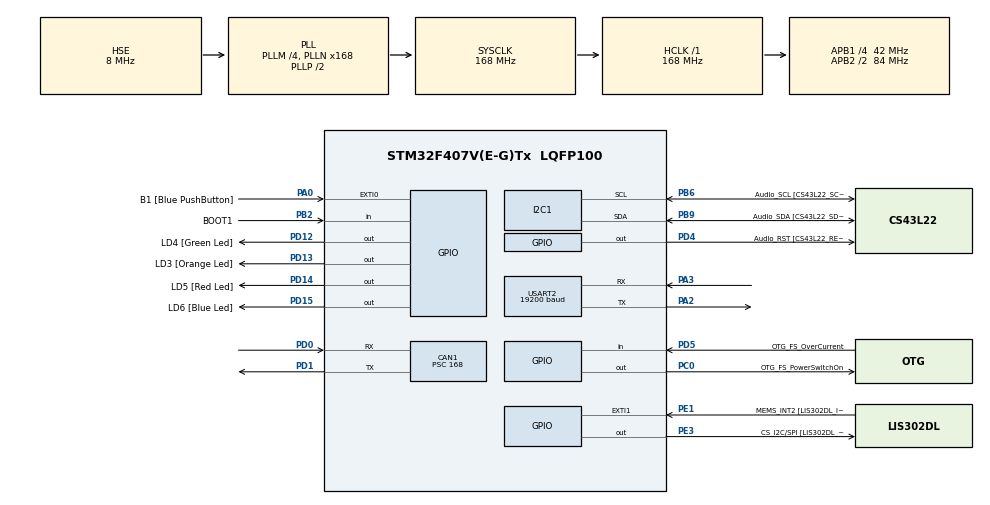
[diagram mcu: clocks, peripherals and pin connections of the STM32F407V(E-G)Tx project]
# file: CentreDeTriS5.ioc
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CAN1.BS1=CAN_BS1_3TQ
CAN1.CalculateTimeQuantum=4000.0
CAN1.Mode=CAN_MODE_LOOPBACK
CAN1.Prescaler=168
Mcu.Family=STM32F4
Mcu.Name=STM32F407V(E-G)Tx
Mcu.Package=LQFP100
NVIC.PriorityGroup=NVIC_PRIORITYGROUP_0
NVIC.TIM6_DAC_IRQn=true\:0\:0\:false\:false\:true\:true\:true
PA0-WKUP.GPIO_Label=B1 [Blue PushButton]
PA0-WKUP.Signal=GPXTI0
PA10.GPIO_Label=OTG_FS_ID
PA10.GPIO_Mode=GPIO_MODE_AF_PP
PA10.GPIO_PuPd=GPIO_NOPULL
PA10.GPIO_Speed=GPIO_SPEED_FREQ_LOW
PA10.Signal=USB_OTG_FS_ID
PA11.GPIO_Label=OTG_FS_DM
PA11.GPIO_Mode=GPIO_MODE_AF_PP
PA11.GPIO_PuPd=GPIO_NOPULL
PA11.GPIO_Speed=GPIO_SPEED_FREQ_LOW
PA11.Signal=USB_OTG_FS_DM
PA12.GPIO_Label=OTG_FS_DP
PA12.GPIO_Mode=GPIO_MODE_AF_PP
PA12.GPIO_PuPd=GPIO_NOPULL
PA12.GPIO_Speed=GPIO_SPEED_FREQ_LOW
PA12.Signal=USB_OTG_FS_DP
PA13.GPIO_Label=SWDIO
PA13.Signal=SYS_JTMS-SWDIO
PA14.GPIO_Label=SWCLK
PA14.Signal=SYS_JTCK-SWCLK
PA2.Mode=Asynchronous
PA2.Signal=USART2_TX
PA3.Mode=Asynchronous
PA3.Signal=USART2_RX
PA4.GPIO_Label=I2S3_WS [CS43L22_LRCK]
PA4.GPIO_Mode=GPIO_MODE_AF_PP
PA4.GPIO_PuPd=GPIO_NOPULL
PA4.GPIO_Speed=GPIO_SPEED_FREQ_LOW
PA4.Signal=I2S3_WS
PA5.GPIO_Label=SPI1_SCK [LIS302DL_SCL/SPC]
PA5.GPIO_Mode=GPIO_MODE_AF_PP
PA5.GPIO_PuPd=GPIO_NOPULL
PA5.GPIO_Speed=GPIO_SPEED_FREQ_LOW
PA5.Signal=SPI1_SCK
PA6.GPIO_Label=SPI1_MISO [LIS302DL_SDO]
PA6.GPIO_Mode=GPIO_MODE_AF_PP
PA6.GPIO_PuPd=GPIO_NOPULL
PA6.GPIO_Speed=GPIO_SPEED_FREQ_LOW
PA6.Signal=SPI1_MISO
PA7.GPIO_Label=SPI1_MOSI [LIS302DL_SDA/SDI/SDO]
PA7.GPIO_Mode=GPIO_MODE_AF_PP
PA7.GPIO_PuPd=GPIO_NOPULL
PA7.GPIO_Speed=GPIO_SPEED_FREQ_LOW
PA7.Signal=SPI1_MOSI
PA9.GPIO_Label=VBUS_FS
PA9.GPIO_Mode=GPIO_MODE_INPUT
PA9.GPIO_PuPd=GPIO_NOPULL
PA9.Signal=USB_OTG_FS_VBUS
PB10.GPIO_Label=CLK_IN [MP45DT02_CLK]
PB10.GPIO_Mode=GPIO_MODE_AF_PP
PB10.GPIO_PuPd=GPIO_NOPULL
PB10.GPIO_Speed=GPIO_SPEED_FREQ_LOW
PB10.Signal=I2S2_CK
PB2.GPIO_Label=BOOT1
PB2.GPIO_Mode=GPIO_MODE_INPUT
PB2.GPIO_PuPd=GPIO_NOPULL
PB2.Signal=GPIO_Input
PB3.GPIO_Label=SWO
PB3.Signal=SYS_JTDO-SWO
PB6.GPIO_Label=Audio_SCL [CS43L22_SCL]
PB6.GPIO_Mode=GPIO_MODE_AF_OD
PB6.GPIO_PuPd=GPIO_NOPULL
PB6.GPIO_Speed=GPIO_SPEED_FREQ_LOW
PB6.Mode=I2C
PB6.Signal=I2C1_SCL
PB9.GPIO_Label=Audio_SDA [CS43L22_SDA]
PB9.GPIO_Mode=GPIO_MODE_AF_OD
PB9.GPIO_PuPd=GPIO_NOPULL
PB9.GPIO_Speed=GPIO_SPEED_FREQ_LOW
PB9.Mode=I2C
PB9.Signal=I2C1_SDA
PC0.GPIO_Label=OTG_FS_PowerSwitchOn
PC0.GPIO_PuPd=GPIO_NOPULL
PC0.GPIO_Speed=GPIO_SPEED_FREQ_LOW
PC0.PinState=GPIO_PIN_SET
PC0.Signal=GPIO_Output
PC10.GPIO_Label=I2S3_SCK [CS43L22_SCLK]
PC10.GPIO_Mode=GPIO_MODE_AF_PP
PC10.GPIO_PuPd=GPIO_NOPULL
PC10.GPIO_Speed=GPIO_SPEED_FREQ_LOW
PC10.Signal=I2S3_CK
PC12.GPIO_Label=I2S3_SD [CS43L22_SDIN]
PC12.GPIO_Mode=GPIO_MODE_AF_PP
PC12.GPIO_PuPd=GPIO_NOPULL
PC12.GPIO_Speed=GPIO_SPEED_FREQ_LOW
PC12.Signal=I2S3_SD
PC14-OSC32_IN.GPIO_Label=PC14-OSC32_IN
PC14-OSC32_IN.Signal=RCC_OSC32_IN
PC15-OSC32_OUT.GPIO_Label=PC15-OSC32_OUT
PC15-OSC32_OUT.Signal=RCC_OSC32_OUT
PC3.GPIO_Label=PDM_OUT [MP45DT02_DOUT]
PC3.GPIO_Mode=GPIO_MODE_AF_PP
PC3.GPIO_PuPd=GPIO_NOPULL
PC3.GPIO_Speed=GPIO_SPEED_FREQ_LOW
PC3.Signal=I2S2_SD
PC7.GPIO_Label=I2S3_MCK [CS43L22_MCLK]
PC7.GPIO_Mode=GPIO_MODE_AF_PP
PC7.GPIO_PuPd=GPIO_NOPULL
PC7.GPIO_Speed=GPIO_SPEED_FREQ_LOW
PC7.Signal=I2S3_MCK
PD0.Mode=Master
PD0.Signal=CAN1_RX
PD1.Mode=Master
PD1.Signal=CAN1_TX
PD12.GPIO_Label=LD4 [Green Led]
PD12.GPIO_PuPd=GPIO_NOPULL
PD12.GPIO_Speed=GPIO_SPEED_FREQ_LOW
PD12.Signal=GPIO_Output
PD13.GPIO_Label=LD3 [Orange Led]
PD13.GPIO_PuPd=GPIO_NOPULL
PD13.GPIO_Speed=GPIO_SPEED_FREQ_LOW
PD13.Signal=GPIO_Output
PD14.GPIO_Label=LD5 [Red Led]
PD14.GPIO_PuPd=GPIO_NOPULL
PD14.GPIO_Speed=GPIO_SPEED_FREQ_LOW
PD14.Signal=GPIO_Output
PD15.GPIO_Label=LD6 [Blue Led]
PD15.GPIO_PuPd=GPIO_NOPULL
PD15.GPIO_Speed=GPIO_SPEED_FREQ_LOW
PD15.Signal=GPIO_Output
PD4.GPIO_Label=Audio_RST [CS43L22_RESET]
PD4.GPIO_PuPd=GPIO_NOPULL
PD4.GPIO_Speed=GPIO_SPEED_FREQ_LOW
PD4.Signal=GPIO_Output
PD5.GPIO_Label=OTG_FS_OverCurrent
PD5.GPIO_Mode=GPIO_MODE_INPUT
PD5.GPIO_PuPd=GPIO_NOPULL
PD5.Signal=GPIO_Input
PE1.GPIO_Label=MEMS_INT2 [LIS302DL_INT2]
PE1.GPIO_ModeDefaultEXTI=GPIO_MODE_EVT_RISING
PE1.GPIO_PuPd=GPIO_NOPULL
PE1.Signal=GPXTI1
PE3.GPIO_Label=CS_I2C/SPI [LIS302DL_CS_I2C/SPI]
PE3.GPIO_PuPd=GPIO_NOPULL
PE3.GPIO_Speed=GPIO_SPEED_FREQ_LOW
PE3.Signal=GPIO_Output
PH0-OSC_IN.GPIO_Label=PH0-OSC_IN
PH0-OSC_IN.Mode=HSE-External-Oscillator
PH0-OSC_IN.Signal=RCC_OSC_IN
PH1-OSC_OUT.GPIO_Label=PH1-OSC_OUT
PH1-OSC_OUT.Mode=HSE-External-Oscillator
PH1-OSC_OUT.Signal=RCC_OSC_OUT
ProjectManager.HeapSize=0x200
ProjectManager.StackSize=0x400
ProjectManager.TargetToolchain=EWARM V7
RCC.48MHZClocksFreq_Value=48000000
RCC.AHBFreq_Value=168000000
RCC.APB1CLKDivider=RCC_HCLK_DIV4
RCC.APB1Freq_Value=42000000
RCC.APB1TimFreq_Value=84000000
RCC.APB2CLKDivider=RCC_HCLK_DIV2
RCC.APB2Freq_Value=84000000
RCC.APB2TimFreq_Value=168000000
RCC.CortexFreq_Value=168000000
RCC.HCLKFreq_Value=168000000
RCC.HSE_VALUE=8000000
RCC.HSI_VALUE=16000000
RCC.LSE_VALUE=32768
RCC.PLLM=4
RCC.PLLN=168
RCC.PLLQ=7
RCC.PLLSourceVirtual=RCC_PLLSOURCE_HSE
RCC.SYSCLKFreq_VALUE=168000000
RCC.SYSCLKSource=RCC_SYSCLKSOURCE_PLLCLK
RCC.VCOOutputFreq_Value=336000000
TIM6.Period=PILOTETIMER6UP_COMPTE_MAXIMAL
TIM6.TIM_MasterOutputTrigger=TIM_TRGO_ENABLE
USART2.BaudRate=19200
USART2.VirtualMode=VM_ASYNC
VP_TIM6_VS_ClockSourceINT.Mode=Enable_Timer
board=STM32F407G-DISC1

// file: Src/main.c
/* USER CODE BEGIN Header */
/**
  ******************************************************************************
  * @file           : main.c
  * @brief          : Main program body
  ******************************************************************************
  * @attention
  *
  * <h2><center>&copy; Copyright (c) 2019 STMicroelectronics.
  * All rights reserved.</center></h2>
  *
  * This software component is licensed by ST under BSD 3-Clause license,
  * the "License"; You may not use this file except in compliance with the
  * License. You may obtain a copy of the License at:
  *                        opensource.org/licenses/BSD-3-Clause
  *
  ******************************************************************************
  */
/* USER CODE END Header */

#include "main.h"

/* USER CODE BEGIN Includes */
//S-0010:
//Historique:
// 2019-10-27, Yves Roy, creation

//notes sur l'utilisation des timers.
// https://www.st.com/content/ccc/resource/technical/document/application_note/group0/91/01/84/3f/7c/67/41/3f/DM00236305/files/DM00236305.pdf/jcr:content/translations/en.DM00236305.pdf
//https://stm32f4-discovery.net/2014/05/stm32f4-stm32f429-discovery-pwm-tutorial/
//timer 6 sur APB1
//timer_tick_frequency = Timer_default_frequency / (prescaller_set + 1)
//default_frequency = 84MHz compte tenu des options choisies avec le "cube"
//TIM_Period = timer_tick_frequency / TIM_frequency - 1
//il faut s'assurer que le compte pour la periode est plus petit que 65536

#include "piloteTimer6Up.h"
#include "piloteCAN1.h"
#include "piloteUSART2.h"
#include "piloteIOB1.h"
#include "piloteIOT1.h"
#include "piloteIOT2.h"
#include "piloteIOT3.h"
#include "piloteIOT4.h"
#include "serviceBaseDeTemps.h"
//#include "serviceProtocole637.h"
#include "interfaceB1.h"
#include "interfaceT1.h"
#include "interfaceT2.h"
#include "interfaceT3.h"
#include "interfaceT4.h"
//#include "processusBoutonConnecte.h"
#include "processusUsine.h"
//#include "stm32f4xx_hal_conf.h"
//#include "stm32f4xx_it.h"
/* USER CODE END Includes */

CAN_HandleTypeDef hcan1;

I2C_HandleTypeDef hi2c1;

TIM_HandleTypeDef htim6;

UART_HandleTypeDef huart2;

/* USER CODE BEGIN PV */
/* Private variables ---------------------------------------------------------*/

/* USER CODE END PV */

void SystemClock_Config(void);
static void MX_GPIO_Init(void);
static void MX_USART2_UART_Init(void);
static void MX_TIM6_Init(void);
static void MX_CAN1_Init(void);
static void MX_I2C1_Init(void);
/* USER CODE BEGIN PFP */
/* Private function prototypes -----------------------------------------------*/
void main_initialiseAvantLeHAL(void);
void main_initialiseApresLeHAL(void);
/* USER CODE END PFP */

/* USER CODE BEGIN 0 */
void main_initialiseAvantLeHAL(void)
{
  piloteTimer6Up_initialise();
  //piloteCAN1_initialise(); //irait ici en temps normal... mais il y a un bug dans le cube
  piloteUSART2_initialise();
  piloteIOB1_initialise();
  piloteIOT1_initialise();
  piloteIOT2_initialise();
  piloteIOT3_initialise();
  piloteIOT4_initialise();
  serviceBaseDeTemps_initialise();
  serviceProtocole637_initialise();
  interfaceT1_initialise();
  interfaceT2_initialise();
  interfaceT3_initialise();
  interfaceT4_initialise();
  processusPasserelle_initialise();
}

void main_initialiseApresLeHAL(void)
{
  piloteCAN1_initialise();
  piloteTimer6Up_permetLesInterruptions();
}

void neFaitRien(void)
{
}
/* USER CODE END 0 */

int main(void)
{
  /* USER CODE BEGIN 1 */
  main_initialiseAvantLeHAL();
  /* USER CODE END 1 */

  /* MCU Configuration--------------------------------------------------------*/

  /* Reset of all peripherals, Initializes the Flash interface and the Systick. */
  HAL_Init();

  /* Configure the system clock */
  SystemClock_Config();

  /* Initialize all configured peripherals */
  MX_GPIO_Init();
  MX_USART2_UART_Init();
  MX_TIM6_Init();
  MX_CAN1_Init();
  MX_I2C1_Init();
  /* USER CODE BEGIN 2 */
  main_initialiseApresLeHAL();

  /* USER CODE END 2 */

  /* Infinite loop */
  while (1)
  {

  }
}

void SystemClock_Config(void)
{
  RCC_OscInitTypeDef RCC_OscInitStruct = {0};
  RCC_ClkInitTypeDef RCC_ClkInitStruct = {0};

  /** Configure the main internal regulator output voltage
  */
  __HAL_RCC_PWR_CLK_ENABLE();
  __HAL_PWR_VOLTAGESCALING_CONFIG(PWR_REGULATOR_VOLTAGE_SCALE1);
  /** Initializes the CPU, AHB and APB busses clocks
  */
  RCC_OscInitStruct.OscillatorType = RCC_OSCILLATORTYPE_HSE;
  RCC_OscInitStruct.HSEState = RCC_HSE_ON;
  RCC_OscInitStruct.PLL.PLLState = RCC_PLL_ON;
  RCC_OscInitStruct.PLL.PLLSource = RCC_PLLSOURCE_HSE;
  RCC_OscInitStruct.PLL.PLLM = 4;
  RCC_OscInitStruct.PLL.PLLN = 168;
  RCC_OscInitStruct.PLL.PLLP = RCC_PLLP_DIV2;
  RCC_OscInitStruct.PLL.PLLQ = 7;
  if (HAL_RCC_OscConfig(&RCC_OscInitStruct) != HAL_OK)
  {
    Error_Handler();
  }
  /** Initializes the CPU, AHB and APB busses clocks
  */
  RCC_ClkInitStruct.ClockType = RCC_CLOCKTYPE_HCLK|RCC_CLOCKTYPE_SYSCLK
                              |RCC_CLOCKTYPE_PCLK1|RCC_CLOCKTYPE_PCLK2;
  RCC_ClkInitStruct.SYSCLKSource = RCC_SYSCLKSOURCE_PLLCLK;
  RCC_ClkInitStruct.AHBCLKDivider = RCC_SYSCLK_DIV1;
  RCC_ClkInitStruct.APB1CLKDivider = RCC_HCLK_DIV4;
  RCC_ClkInitStruct.APB2CLKDivider = RCC_HCLK_DIV2;

  if (HAL_RCC_ClockConfig(&RCC_ClkInitStruct, FLASH_LATENCY_5) != HAL_OK)
  {
    Error_Handler();
  }
}

static void MX_CAN1_Init(void)
{

  hcan1.Instance = CAN1;
  hcan1.Init.Prescaler = 168;
  hcan1.Init.Mode = CAN_MODE_LOOPBACK;
  hcan1.Init.SyncJumpWidth = CAN_SJW_1TQ;
  hcan1.Init.TimeSeg1 = CAN_BS1_3TQ;
  hcan1.Init.TimeSeg2 = CAN_BS2_1TQ;
  hcan1.Init.TimeTriggeredMode = DISABLE;
  hcan1.Init.AutoBusOff = DISABLE;
  hcan1.Init.AutoWakeUp = DISABLE;
  hcan1.Init.AutoRetransmission = DISABLE;
  hcan1.Init.ReceiveFifoLocked = DISABLE;
  hcan1.Init.TransmitFifoPriority = DISABLE;
  if (HAL_CAN_Init(&hcan1) != HAL_OK)
  {
    Error_Handler();
  }

}

static void MX_I2C1_Init(void)
{

  hi2c1.Instance = I2C1;
  hi2c1.Init.ClockSpeed = 100000;
  hi2c1.Init.DutyCycle = I2C_DUTYCYCLE_2;
  hi2c1.Init.OwnAddress1 = 0;
  hi2c1.Init.AddressingMode = I2C_ADDRESSINGMODE_7BIT;
  hi2c1.Init.DualAddressMode = I2C_DUALADDRESS_DISABLE;
  hi2c1.Init.OwnAddress2 = 0;
  hi2c1.Init.GeneralCallMode = I2C_GENERALCALL_DISABLE;
  hi2c1.Init.NoStretchMode = I2C_NOSTRETCH_DISABLE;
  if (HAL_I2C_Init(&hi2c1) != HAL_OK)
  {
    Error_Handler();
  }

}

static void MX_TIM6_Init(void)
{

  TIM_MasterConfigTypeDef sMasterConfig = {0};

  htim6.Instance = TIM6;
  htim6.Init.Prescaler = 0;
  htim6.Init.CounterMode = TIM_COUNTERMODE_UP;
  htim6.Init.Period = PILOTETIMER6UP_COMPTE_MAXIMAL;
  htim6.Init.AutoReloadPreload = TIM_AUTORELOAD_PRELOAD_DISABLE;
  if (HAL_TIM_Base_Init(&htim6) != HAL_OK)
  {
    Error_Handler();
  }
  sMasterConfig.MasterOutputTrigger = TIM_TRGO_ENABLE;
  sMasterConfig.MasterSlaveMode = TIM_MASTERSLAVEMODE_DISABLE;
  if (HAL_TIMEx_MasterConfigSynchronization(&htim6, &sMasterConfig) != HAL_OK)
  {
    Error_Handler();
  }

}

static void MX_USART2_UART_Init(void)
{

  huart2.Instance = USART2;
  huart2.Init.BaudRate = 19200;
  huart2.Init.WordLength = UART_WORDLENGTH_8B;
  huart2.Init.StopBits = UART_STOPBITS_1;
  huart2.Init.Parity = UART_PARITY_NONE;
  huart2.Init.Mode = UART_MODE_TX_RX;
  huart2.Init.HwFlowCtl = UART_HWCONTROL_NONE;
  huart2.Init.OverSampling = UART_OVERSAMPLING_16;
  if (HAL_UART_Init(&huart2) != HAL_OK)
  {
    Error_Handler();
  }

}

static void MX_GPIO_Init(void)
{
  GPIO_InitTypeDef GPIO_InitStruct = {0};

  /* GPIO Ports Clock Enable */
  __HAL_RCC_GPIOE_CLK_ENABLE();
  __HAL_RCC_GPIOC_CLK_ENABLE();
  __HAL_RCC_GPIOH_CLK_ENABLE();
  __HAL_RCC_GPIOA_CLK_ENABLE();
  __HAL_RCC_GPIOB_CLK_ENABLE();
  __HAL_RCC_GPIOD_CLK_ENABLE();

  /*Configure GPIO pin Output Level */
  HAL_GPIO_WritePin(CS_I2C_SPI_GPIO_Port, CS_I2C_SPI_Pin, GPIO_PIN_RESET);

  /*Configure GPIO pin Output Level */
  HAL_GPIO_WritePin(OTG_FS_PowerSwitchOn_GPIO_Port, OTG_FS_PowerSwitchOn_Pin, GPIO_PIN_SET);

  /*Configure GPIO pin Output Level */
  HAL_GPIO_WritePin(GPIOD, LD4_Pin|LD3_Pin|LD5_Pin|LD6_Pin
                          |Audio_RST_Pin, GPIO_PIN_RESET);

  /*Configure GPIO pin : CS_I2C_SPI_Pin */
  GPIO_InitStruct.Pin = CS_I2C_SPI_Pin;
  GPIO_InitStruct.Mode = GPIO_MODE_OUTPUT_PP;
  GPIO_InitStruct.Pull = GPIO_NOPULL;
  GPIO_InitStruct.Speed = GPIO_SPEED_FREQ_LOW;
  HAL_GPIO_Init(CS_I2C_SPI_GPIO_Port, &GPIO_InitStruct);

  /*Configure GPIO pin : OTG_FS_PowerSwitchOn_Pin */
  GPIO_InitStruct.Pin = OTG_FS_PowerSwitchOn_Pin;
  GPIO_InitStruct.Mode = GPIO_MODE_OUTPUT_PP;
  GPIO_InitStruct.Pull = GPIO_NOPULL;
  GPIO_InitStruct.Speed = GPIO_SPEED_FREQ_LOW;
  HAL_GPIO_Init(OTG_FS_PowerSwitchOn_GPIO_Port, &GPIO_InitStruct);

  /*Configure GPIO pin : PDM_OUT_Pin */
  GPIO_InitStruct.Pin = PDM_OUT_Pin;
  GPIO_InitStruct.Mode = GPIO_MODE_AF_PP;
  GPIO_InitStruct.Pull = GPIO_NOPULL;
  GPIO_InitStruct.Speed = GPIO_SPEED_FREQ_LOW;
  GPIO_InitStruct.Alternate = GPIO_AF5_SPI2;
  HAL_GPIO_Init(PDM_OUT_GPIO_Port, &GPIO_InitStruct);

  /*Configure GPIO pin : B1_Pin */
  GPIO_InitStruct.Pin = B1_Pin;
  GPIO_InitStruct.Mode = GPIO_MODE_IT_RISING;
  GPIO_InitStruct.Pull = GPIO_NOPULL;
  HAL_GPIO_Init(B1_GPIO_Port, &GPIO_InitStruct);

  /*Configure GPIO pin : I2S3_WS_Pin */
  GPIO_InitStruct.Pin = I2S3_WS_Pin;
  GPIO_InitStruct.Mode = GPIO_MODE_AF_PP;
  GPIO_InitStruct.Pull = GPIO_NOPULL;
  GPIO_InitStruct.Speed = GPIO_SPEED_FREQ_LOW;
  GPIO_InitStruct.Alternate = GPIO_AF6_SPI3;
  HAL_GPIO_Init(I2S3_WS_GPIO_Port, &GPIO_InitStruct);

  /*Configure GPIO pins : SPI1_SCK_Pin SPI1_MISO_Pin SPI1_MOSI_Pin */
  GPIO_InitStruct.Pin = SPI1_SCK_Pin|SPI1_MISO_Pin|SPI1_MOSI_Pin;
  GPIO_InitStruct.Mode = GPIO_MODE_AF_PP;
  GPIO_InitStruct.Pull = GPIO_NOPULL;
  GPIO_InitStruct.Speed = GPIO_SPEED_FREQ_LOW;
  GPIO_InitStruct.Alternate = GPIO_AF5_SPI1;
  HAL_GPIO_Init(GPIOA, &GPIO_InitStruct);

  /*Configure GPIO pin : BOOT1_Pin */
  GPIO_InitStruct.Pin = BOOT1_Pin;
  GPIO_InitStruct.Mode = GPIO_MODE_INPUT;
  GPIO_InitStruct.Pull = GPIO_NOPULL;
  HAL_GPIO_Init(BOOT1_GPIO_Port, &GPIO_InitStruct);

  /*Configure GPIO pin : CLK_IN_Pin */
  GPIO_InitStruct.Pin = CLK_IN_Pin;
  GPIO_InitStruct.Mode = GPIO_MODE_AF_PP;
  GPIO_InitStruct.Pull = GPIO_NOPULL;
  GPIO_InitStruct.Speed = GPIO_SPEED_FREQ_LOW;
  GPIO_InitStruct.Alternate = GPIO_AF5_SPI2;
  HAL_GPIO_Init(CLK_IN_GPIO_Port, &GPIO_InitStruct);

  /*Configure GPIO pins : LD4_Pin LD3_Pin LD5_Pin LD6_Pin
                           Audio_RST_Pin */
  GPIO_InitStruct.Pin = LD4_Pin|LD3_Pin|LD5_Pin|LD6_Pin
                          |Audio_RST_Pin;
  GPIO_InitStruct.Mode = GPIO_MODE_OUTPUT_PP;
  GPIO_InitStruct.Pull = GPIO_NOPULL;
  GPIO_InitStruct.Speed = GPIO_SPEED_FREQ_LOW;
  HAL_GPIO_Init(GPIOD, &GPIO_InitStruct);

  /*Configure GPIO pins : I2S3_MCK_Pin I2S3_SCK_Pin I2S3_SD_Pin */
  GPIO_InitStruct.Pin = I2S3_MCK_Pin|I2S3_SCK_Pin|I2S3_SD_Pin;
  GPIO_InitStruct.Mode = GPIO_MODE_AF_PP;
  GPIO_InitStruct.Pull = GPIO_NOPULL;
  GPIO_InitStruct.Speed = GPIO_SPEED_FREQ_LOW;
  GPIO_InitStruct.Alternate = GPIO_AF6_SPI3;
  HAL_GPIO_Init(GPIOC, &GPIO_InitStruct);

  /*Configure GPIO pin : VBUS_FS_Pin */
  GPIO_InitStruct.Pin = VBUS_FS_Pin;
  GPIO_InitStruct.Mode = GPIO_MODE_INPUT;
  GPIO_InitStruct.Pull = GPIO_NOPULL;
  HAL_GPIO_Init(VBUS_FS_GPIO_Port, &GPIO_InitStruct);

  /*Configure GPIO pins : OTG_FS_ID_Pin OTG_FS_DM_Pin OTG_FS_DP_Pin */
  GPIO_InitStruct.Pin = OTG_FS_ID_Pin|OTG_FS_DM_Pin|OTG_FS_DP_Pin;
  GPIO_InitStruct.Mode = GPIO_MODE_AF_PP;
  GPIO_InitStruct.Pull = GPIO_NOPULL;
  GPIO_InitStruct.Speed = GPIO_SPEED_FREQ_LOW;
  GPIO_InitStruct.Alternate = GPIO_AF10_OTG_FS;
  HAL_GPIO_Init(GPIOA, &GPIO_InitStruct);

  /*Configure GPIO pin : OTG_FS_OverCurrent_Pin */
  GPIO_InitStruct.Pin = OTG_FS_OverCurrent_Pin;
  GPIO_InitStruct.Mode = GPIO_MODE_INPUT;
  GPIO_InitStruct.Pull = GPIO_NOPULL;
  HAL_GPIO_Init(OTG_FS_OverCurrent_GPIO_Port, &GPIO_InitStruct);

  /*Configure GPIO pin : MEMS_INT2_Pin */
  GPIO_InitStruct.Pin = MEMS_INT2_Pin;
  GPIO_InitStruct.Mode = GPIO_MODE_EVT_RISING;
  GPIO_InitStruct.Pull = GPIO_NOPULL;
  HAL_GPIO_Init(MEMS_INT2_GPIO_Port, &GPIO_InitStruct);

}

void Error_Handler(void)
{
  while(1)
  {
  }
}

/************************ (C) COPYRIGHT STMicroelectronics *****END OF FILE****/
